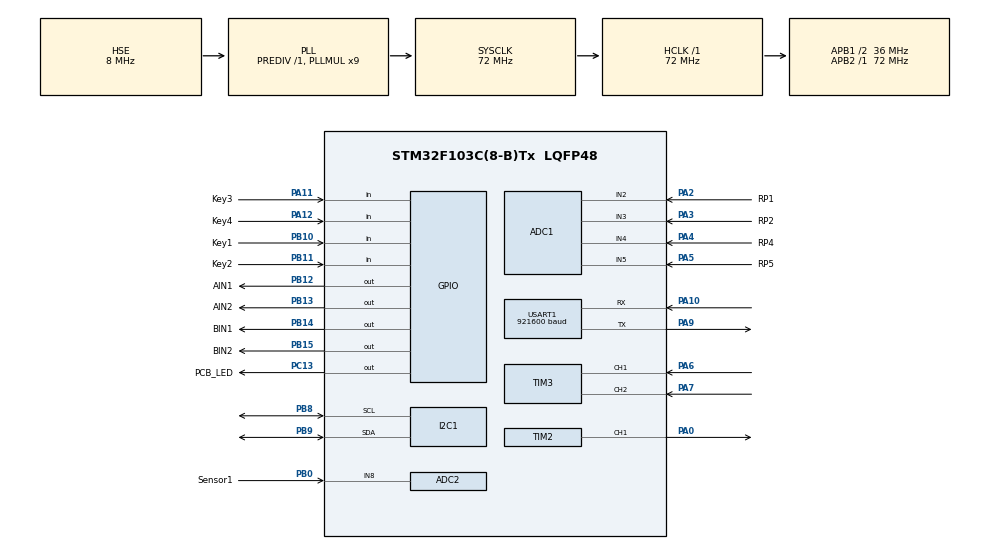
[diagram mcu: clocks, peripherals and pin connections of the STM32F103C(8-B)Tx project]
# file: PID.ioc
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ADC1.Channel-0\#ChannelRegularConversion=ADC_CHANNEL_2
ADC1.Channel-1\#ChannelRegularConversion=ADC_CHANNEL_3
ADC1.Channel-2\#ChannelRegularConversion=ADC_CHANNEL_4
ADC1.Channel-3\#ChannelRegularConversion=ADC_CHANNEL_5
ADC1.ContinuousConvMode=DISABLE
ADC1.DiscontinuousConvMode=DISABLE
ADC1.NbrOfConversion=4
ADC1.NbrOfConversionFlag=1
ADC1.Rank-0\#ChannelRegularConversion=1
ADC1.Rank-1\#ChannelRegularConversion=2
ADC1.Rank-2\#ChannelRegularConversion=3
ADC1.Rank-3\#ChannelRegularConversion=4
ADC1.SamplingTime-0\#ChannelRegularConversion=ADC_SAMPLETIME_1CYCLE_5
ADC1.SamplingTime-1\#ChannelRegularConversion=ADC_SAMPLETIME_1CYCLE_5
ADC1.SamplingTime-2\#ChannelRegularConversion=ADC_SAMPLETIME_1CYCLE_5
ADC1.SamplingTime-3\#ChannelRegularConversion=ADC_SAMPLETIME_1CYCLE_5
ADC1.master=1
ADC2.Channel-1\#ChannelRegularConversion=ADC_CHANNEL_8
ADC2.NbrOfConversionFlag=1
ADC2.Rank-1\#ChannelRegularConversion=1
ADC2.SamplingTime-1\#ChannelRegularConversion=ADC_SAMPLETIME_1CYCLE_5
Dma.ADC1.0.Direction=DMA_PERIPH_TO_MEMORY
Dma.ADC1.0.Instance=DMA1_Channel1
Dma.ADC1.0.MemDataAlignment=DMA_MDATAALIGN_HALFWORD
Dma.ADC1.0.MemInc=DMA_MINC_ENABLE
Dma.ADC1.0.Mode=DMA_NORMAL
Dma.ADC1.0.PeriphDataAlignment=DMA_PDATAALIGN_HALFWORD
Dma.ADC1.0.PeriphInc=DMA_PINC_DISABLE
Dma.ADC1.0.Priority=DMA_PRIORITY_LOW
Dma.Request0=ADC1
FREERTOS.BinarySemaphores01=OLEDupdateSem,Dynamic,NULL,Available;PIDupdateSem,Dynamic,NULL,Available;MotorUpdateSem,Dynamic,NULL,Available
FREERTOS.Tasks01=defaultTask,24,64,StartDefaultTask,Default,NULL,Dynamic,NULL,NULL;OLEDupdateTask,25,128,StartOLEDupdateTask,Default,NULL,Dynamic,NULL,NULL;ReadADCTask,24,64,StartReadADCTask,Default,NULL,Dynamic,NULL,NULL;SstMotorTask,28,64,StartSstMotorTask,Default,NULL,Dynamic,NULL,NULL;USART1Task,24,256,StartUSART1Task,Default,NULL,Dynamic,NULL,NULL;PIDupdateTask,28,64,StartPIDupdateTask,Default,NULL,Dynamic,NULL,NULL;GetEncoderTask,27,128,StartGetEncoderTask,Default,NULL,Dynamic,NULL,NULL;CopeKeyTask,24,64,StartCopeKeyTask,Default,NULL,Dynamic,NULL,NULL
FREERTOS.configMINIMAL_STACK_SIZE=64
FREERTOS.configTOTAL_HEAP_SIZE=5120
FREERTOS.configUSE_NEWLIB_REENTRANT=1
Mcu.Family=STM32F1
Mcu.Name=STM32F103C(8-B)Tx
Mcu.Package=LQFP48
NVIC.ADC1_2_IRQn=true\:5\:0\:false\:false\:true\:true\:true\:true\:true
NVIC.DMA1_Channel1_IRQn=true\:5\:0\:false\:false\:true\:true\:false\:true\:true
NVIC.PriorityGroup=NVIC_PRIORITYGROUP_4
NVIC.TIM4_IRQn=true\:15\:0\:false\:false\:true\:false\:false\:true\:true
NVIC.TimeBase=TIM4_IRQn
NVIC.TimeBaseIP=TIM4
PA0-WKUP.Signal=S_TIM2_CH1_ETR
PA10.Mode=Asynchronous
PA10.Signal=USART1_RX
PA11.GPIO_Label=Key3
PA11.GPIO_PuPd=GPIO_PULLUP
PA11.Signal=GPIO_Input
PA12.GPIO_Label=Key4
PA12.GPIO_PuPd=GPIO_PULLUP
PA12.Signal=GPIO_Input
PA13.Mode=Serial_Wire
PA13.Signal=SYS_JTMS-SWDIO
PA14.Mode=Serial_Wire
PA14.Signal=SYS_JTCK-SWCLK
PA2.GPIO_Label=RP1
PA2.Signal=SharedAnalog_PA2
PA3.GPIO_Label=RP2
PA3.Signal=SharedAnalog_PA3
PA4.GPIO_Label=RP4
PA4.Signal=SharedAnalog_PA4
PA5.GPIO_Label=RP5
PA5.Signal=SharedAnalog_PA5
PA6.Signal=S_TIM3_CH1
PA7.Signal=S_TIM3_CH2
PA9.Mode=Asynchronous
PA9.Signal=USART1_TX
PB0.GPIO_Label=Sensor1
PB0.Signal=SharedAnalog_PB0
PB10.GPIO_Label=Key1
PB10.GPIO_PuPd=GPIO_PULLUP
PB10.Signal=GPIO_Input
PB11.GPIO_Label=Key2
PB11.GPIO_PuPd=GPIO_PULLUP
PB11.Signal=GPIO_Input
PB12.GPIO_Label=AIN1
PB12.Signal=GPIO_Output
PB13.GPIO_Label=AIN2
PB13.Signal=GPIO_Output
PB14.GPIO_Label=BIN1
PB14.Signal=GPIO_Output
PB15.GPIO_Label=BIN2
PB15.Signal=GPIO_Output
PB8.Mode=I2C
PB8.Signal=I2C1_SCL
PB9.Mode=I2C
PB9.Signal=I2C1_SDA
PC13-TAMPER-RTC.GPIO_Label=PCB_LED
PC13-TAMPER-RTC.GPIO_ModeDefaultOutputPP=GPIO_MODE_OUTPUT_OD
PC13-TAMPER-RTC.GPIO_PuPd=GPIO_NOPULL
PC13-TAMPER-RTC.Signal=GPIO_Output
PD0-OSC_IN.Mode=HSE-External-Oscillator
PD0-OSC_IN.Signal=RCC_OSC_IN
PD1-OSC_OUT.Mode=HSE-External-Oscillator
PD1-OSC_OUT.Signal=RCC_OSC_OUT
ProjectManager.HeapSize=0x200
ProjectManager.StackSize=0x400
ProjectManager.TargetToolchain=STM32CubeIDE
RCC.ADCPresc=RCC_ADCPCLK2_DIV6
RCC.AHBFreq_Value=72000000
RCC.APB1CLKDivider=RCC_HCLK_DIV2
RCC.APB1Freq_Value=36000000
RCC.APB1TimFreq_Value=72000000
RCC.APB2Freq_Value=72000000
RCC.APB2TimFreq_Value=72000000
RCC.HCLKFreq_Value=72000000
RCC.PLLMUL=RCC_PLL_MUL9
RCC.PLLSourceVirtual=RCC_PLLSOURCE_HSE
RCC.SYSCLKFreq_VALUE=72000000
RCC.SYSCLKSource=RCC_SYSCLKSOURCE_PLLCLK
RCC.USBFreq_Value=72000000
SH.S_TIM2_CH1_ETR.0=TIM2_CH1,PWM Generation1 CH1
SH.S_TIM3_CH1.0=TIM3_CH1,Encoder_Interface
SH.S_TIM3_CH2.0=TIM3_CH2,Encoder_Interface
SH.SharedAnalog_PA2.0=GPIO_Analog
SH.SharedAnalog_PA2.1=ADC1_IN2,IN2
SH.SharedAnalog_PA3.0=GPIO_Analog
SH.SharedAnalog_PA3.1=ADC1_IN3,IN3
SH.SharedAnalog_PA4.0=GPIO_Analog
SH.SharedAnalog_PA4.1=ADC1_IN4,IN4
SH.SharedAnalog_PA5.0=GPIO_Analog
SH.SharedAnalog_PA5.1=ADC1_IN5,IN5
SH.SharedAnalog_PB0.0=GPIO_Analog
SH.SharedAnalog_PB0.1=ADC2_IN8,IN8
TIM2.AutoReloadPreload=TIM_AUTORELOAD_PRELOAD_ENABLE
TIM2.Channel-PWM\ Generation1\ CH1=TIM_CHANNEL_1
TIM2.Period=3599
TIM2.Prescaler=0
TIM2.Pulse-PWM\ Generation1\ CH1=3600
TIM3.EncoderMode=TIM_ENCODERMODE_TI12
TIM3.IC1Polarity=TIM_ICPOLARITY_FALLING
USART1.BaudRate=921600
USART1.VirtualMode=VM_ASYNC
VP_FREERTOS_VS_CMSIS_V2.Mode=CMSIS_V2
VP_SYS_VS_tim4.Mode=TIM4
VP_TIM1_VS_ClockSourceINT.Mode=Internal
VP_TIM2_VS_ClockSourceINT.Mode=Internal
board=custom

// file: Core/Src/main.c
/* USER CODE BEGIN Header */
/**
  ******************************************************************************
  * @file           : main.c
  * @brief          : Main program body
  ******************************************************************************
  * @attention
  *
  * Copyright (c) 2025 STMicroelectronics.
  * All rights reserved.
  *
  * This software is licensed under terms that can be found in the LICENSE file
  * in the root directory of this software component.
  * If no LICENSE file comes with this software, it is provided AS-IS.
  *
  ******************************************************************************
  */
/* USER CODE END Header */
#include "main.h"
#include "cmsis_os.h"
#include "adc.h"
#include "dma.h"
#include "i2c.h"
#include "tim.h"
#include "usart.h"
#include "gpio.h"

void SystemClock_Config(void);
void MX_FREERTOS_Init(void);

int main(void)
{

  /* MCU Configuration--------------------------------------------------------*/

  /* Reset of all peripherals, Initializes the Flash interface and the Systick. */
  HAL_Init();

  /* Configure the system clock */
  SystemClock_Config();

  /* Initialize all configured peripherals */
  MX_GPIO_Init();
  MX_DMA_Init();
  MX_ADC1_Init();
  MX_I2C1_Init();
  MX_ADC2_Init();
  MX_TIM1_Init();
  MX_USART1_UART_Init();
  MX_TIM2_Init();
  MX_TIM3_Init();
  /* USER CODE BEGIN 2 */
  OLED_init();
  HAL_ADCEx_Calibration_Start(&hadc1);
  HAL_ADCEx_Calibration_Start(&hadc2);
  HAL_TIM_Encoder_Start(&htim3, TIM_CHANNEL_ALL);
  HAL_TIM_PWM_Start(&htim2, TIM_CHANNEL_1);//motor PWMA

  motorSet(MOTOR_A, MOTOR_FORWARD, 3600);
  /* USER CODE END 2 */

  /* Init scheduler */
  osKernelInitialize();

  /* Call init function for freertos objects (in cmsis_os2.c) */
  MX_FREERTOS_Init();

  /* Start scheduler */
  osKernelStart();

  /* We should never get here as control is now taken by the scheduler */

  /* Infinite loop */
  while (1)
  {

  }
}

void SystemClock_Config(void)
{
  RCC_OscInitTypeDef RCC_OscInitStruct = {0};
  RCC_ClkInitTypeDef RCC_ClkInitStruct = {0};
  RCC_PeriphCLKInitTypeDef PeriphClkInit = {0};

  /** Initializes the RCC Oscillators according to the specified parameters
  * in the RCC_OscInitTypeDef structure.
  */
  RCC_OscInitStruct.OscillatorType = RCC_OSCILLATORTYPE_HSE;
  RCC_OscInitStruct.HSEState = RCC_HSE_ON;
  RCC_OscInitStruct.HSEPredivValue = RCC_HSE_PREDIV_DIV1;
  RCC_OscInitStruct.HSIState = RCC_HSI_ON;
  RCC_OscInitStruct.PLL.PLLState = RCC_PLL_ON;
  RCC_OscInitStruct.PLL.PLLSource = RCC_PLLSOURCE_HSE;
  RCC_OscInitStruct.PLL.PLLMUL = RCC_PLL_MUL9;
  if (HAL_RCC_OscConfig(&RCC_OscInitStruct) != HAL_OK)
  {
    Error_Handler();
  }

  /** Initializes the CPU, AHB and APB buses clocks
  */
  RCC_ClkInitStruct.ClockType = RCC_CLOCKTYPE_HCLK|RCC_CLOCKTYPE_SYSCLK
                              |RCC_CLOCKTYPE_PCLK1|RCC_CLOCKTYPE_PCLK2;
  RCC_ClkInitStruct.SYSCLKSource = RCC_SYSCLKSOURCE_PLLCLK;
  RCC_ClkInitStruct.AHBCLKDivider = RCC_SYSCLK_DIV1;
  RCC_ClkInitStruct.APB1CLKDivider = RCC_HCLK_DIV2;
  RCC_ClkInitStruct.APB2CLKDivider = RCC_HCLK_DIV1;

  if (HAL_RCC_ClockConfig(&RCC_ClkInitStruct, FLASH_LATENCY_2) != HAL_OK)
  {
    Error_Handler();
  }
  PeriphClkInit.PeriphClockSelection = RCC_PERIPHCLK_ADC;
  PeriphClkInit.AdcClockSelection = RCC_ADCPCLK2_DIV6;
  if (HAL_RCCEx_PeriphCLKConfig(&PeriphClkInit) != HAL_OK)
  {
    Error_Handler();
  }
}

/* USER CODE BEGIN 4 */
// 重定向fputc

/* USER CODE END 4 */

void HAL_TIM_PeriodElapsedCallback(TIM_HandleTypeDef *htim)
{
  if (htim->Instance == TIM4) {
    HAL_IncTick();
  }
}

void Error_Handler(void)
{
  __disable_irq();
  while (1)
  {
  }
}

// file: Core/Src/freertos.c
/* USER CODE BEGIN Header */
/**
  ******************************************************************************
  * File Name          : freertos.c
  * Description        : Code for freertos applications
  ******************************************************************************
  * @attention
  *
  * Copyright (c) 2025 STMicroelectronics.
  * All rights reserved.
  *
  * This software is licensed under terms that can be found in the LICENSE file
  * in the root directory of this software component.
  * If no LICENSE file comes with this software, it is provided AS-IS.
  *
  ******************************************************************************
  */
/* USER CODE END Header */

#include "FreeRTOS.h"
#include "task.h"
#include "main.h"
#include "cmsis_os.h"

/* USER CODE BEGIN Includes */
#include <string.h>
#include <math.h>
#include "adc.h"
#include "tim.h"
#include "usart.h"
/* USER CODE END Includes */

/* USER CODE BEGIN PD */
#define KEY_TRIG_STATE 0
#define KEY_RETRIG_STATE 1
/* USER CODE END PD */

/* USER CODE BEGIN Variables */
uint16_t RPValue[4]={0};

int countRealTime =0;
int countLastTime =0;
int SetSpeed = 0;
int RealSpeed = 0;

float UART1SendBuf[50]={0};
const uint8_t tail[4]={0x00, 0x00, 0x80, 0x7f};

float kp=2,ki=2,kd;
int ErrorRealTime,ErrorLast1Time,ErrorInt,PWMOutPut;

uint8_t KeyStateLastTime=0;
uint8_t KeyStateRealTime=0;
uint8_t keyTrigState=0;

/* USER CODE END Variables */
/* Definitions for defaultTask */
osThreadId_t defaultTaskHandle;
const osThreadAttr_t defaultTask_attributes = {
  .name = "defaultTask",
  .stack_size = 64 * 4,
  .priority = (osPriority_t) osPriorityNormal,
};
/* Definitions for OLEDupdateTask */
osThreadId_t OLEDupdateTaskHandle;
const osThreadAttr_t OLEDupdateTask_attributes = {
  .name = "OLEDupdateTask",
  .stack_size = 128 * 4,
  .priority = (osPriority_t) osPriorityNormal1,
};
/* Definitions for ReadADCTask */
osThreadId_t ReadADCTaskHandle;
const osThreadAttr_t ReadADCTask_attributes = {
  .name = "ReadADCTask",
  .stack_size = 64 * 4,
  .priority = (osPriority_t) osPriorityNormal,
};
/* Definitions for SstMotorTask */
osThreadId_t SstMotorTaskHandle;
const osThreadAttr_t SstMotorTask_attributes = {
  .name = "SstMotorTask",
  .stack_size = 64 * 4,
  .priority = (osPriority_t) osPriorityNormal4,
};
/* Definitions for USART1Task */
osThreadId_t USART1TaskHandle;
const osThreadAttr_t USART1Task_attributes = {
  .name = "USART1Task",
  .stack_size = 256 * 4,
  .priority = (osPriority_t) osPriorityNormal,
};
/* Definitions for PIDupdateTask */
osThreadId_t PIDupdateTaskHandle;
const osThreadAttr_t PIDupdateTask_attributes = {
  .name = "PIDupdateTask",
  .stack_size = 64 * 4,
  .priority = (osPriority_t) osPriorityNormal4,
};
/* Definitions for GetEncoderTask */
osThreadId_t GetEncoderTaskHandle;
const osThreadAttr_t GetEncoderTask_attributes = {
  .name = "GetEncoderTask",
  .stack_size = 128 * 4,
  .priority = (osPriority_t) osPriorityNormal3,
};
/* Definitions for CopeKeyTask */
osThreadId_t CopeKeyTaskHandle;
const osThreadAttr_t CopeKeyTask_attributes = {
  .name = "CopeKeyTask",
  .stack_size = 64 * 4,
  .priority = (osPriority_t) osPriorityNormal,
};
/* Definitions for OLEDupdateSem */
osSemaphoreId_t OLEDupdateSemHandle;
const osSemaphoreAttr_t OLEDupdateSem_attributes = {
  .name = "OLEDupdateSem"
};
/* Definitions for PIDupdateSem */
osSemaphoreId_t PIDupdateSemHandle;
const osSemaphoreAttr_t PIDupdateSem_attributes = {
  .name = "PIDupdateSem"
};
/* Definitions for MotorUpdateSem */
osSemaphoreId_t MotorUpdateSemHandle;
const osSemaphoreAttr_t MotorUpdateSem_attributes = {
  .name = "MotorUpdateSem"
};

void StartDefaultTask(void *argument);
void StartOLEDupdateTask(void *argument);
void StartReadADCTask(void *argument);
void StartSstMotorTask(void *argument);
void StartUSART1Task(void *argument);
void StartPIDupdateTask(void *argument);
void StartGetEncoderTask(void *argument);
void StartCopeKeyTask(void *argument);

void MX_FREERTOS_Init(void); /* (MISRA C 2004 rule 8.1) */

void MX_FREERTOS_Init(void) {

  /* Create the semaphores(s) */
  /* creation of OLEDupdateSem */
  OLEDupdateSemHandle = osSemaphoreNew(1, 1, &OLEDupdateSem_attributes);

  /* creation of PIDupdateSem */
  PIDupdateSemHandle = osSemaphoreNew(1, 1, &PIDupdateSem_attributes);

  /* creation of MotorUpdateSem */
  MotorUpdateSemHandle = osSemaphoreNew(1, 1, &MotorUpdateSem_attributes);

  /* Create the thread(s) */
  /* creation of defaultTask */
  defaultTaskHandle = osThreadNew(StartDefaultTask, NULL, &defaultTask_attributes);

  /* creation of OLEDupdateTask */
  OLEDupdateTaskHandle = osThreadNew(StartOLEDupdateTask, NULL, &OLEDupdateTask_attributes);

  /* creation of ReadADCTask */
  ReadADCTaskHandle = osThreadNew(StartReadADCTask, NULL, &ReadADCTask_attributes);

  /* creation of SstMotorTask */
  SstMotorTaskHandle = osThreadNew(StartSstMotorTask, NULL, &SstMotorTask_attributes);

  /* creation of USART1Task */
  USART1TaskHandle = osThreadNew(StartUSART1Task, NULL, &USART1Task_attributes);

  /* creation of PIDupdateTask */
  PIDupdateTaskHandle = osThreadNew(StartPIDupdateTask, NULL, &PIDupdateTask_attributes);

  /* creation of GetEncoderTask */
  GetEncoderTaskHandle = osThreadNew(StartGetEncoderTask, NULL, &GetEncoderTask_attributes);

  /* creation of CopeKeyTask */
  CopeKeyTaskHandle = osThreadNew(StartCopeKeyTask, NULL, &CopeKeyTask_attributes);

}

void StartDefaultTask(void *argument)
{
  for(;;)
  {
    osDelay(1);
  }
}

void StartOLEDupdateTask(void *argument)
{
  /* USER CODE BEGIN StartOLEDupdateTask */
  /* Infinite loop */
  for(;;)
  {
	  if(osSemaphoreAcquire(OLEDupdateSemHandle, 1000) == osOK)
	  {
		  OLED_updata();
	  }
  }
  /* USER CODE END StartOLEDupdateTask */
}

void StartReadADCTask(void *argument)
{
  /* USER CODE BEGIN StartReadADCTask */
  /* Infinite loop */
  for(;;)
  {
	  osDelay(100);
	  HAL_ADC_Start_DMA(&hadc1, (uint32_t *)RPValue, 4);

  }
  /* USER CODE END StartReadADCTask */
}

void StartSstMotorTask(void *argument)
{
  /* USER CODE BEGIN StartSstMotorTask */
  /* Infinite loop */
  for(;;)
  {
	  if (osSemaphoreAcquire(MotorUpdateSemHandle, 1000) == osOK)
	  {
		  if(PWMOutPut==0){motorSet(MOTOR_A, MOTOR_BREAK, 0);}
		  if(PWMOutPut>0){motorSet(MOTOR_A, MOTOR_FORWARD, PWMOutPut);}
		  if(PWMOutPut<0){motorSet(MOTOR_A, MOTOR_BREAK, -PWMOutPut);}
	  }
  }
  /* USER CODE END StartSstMotorTask */
}

void StartUSART1Task(void *argument)
{
  /* USER CODE BEGIN StartUSART1Task */
  /* Infinite loop */
  for(;;)
  {
//	  uint8_t UART_SetSpeedBuf[sizeof(int)],UART_RealSpeedBuf[sizeof(int)],UART_PWMOutPutBuf[sizeof(int)];
	  UART1SendBuf[0]=(float)SetSpeed;
	  UART1SendBuf[1]=(float)RealSpeed;
	  UART1SendBuf[2]=(float)(PWMOutPut/36);
	  UART1SendBuf[3]=(float)ErrorRealTime;
	  HAL_UART_Transmit(&huart1, (uint8_t*)UART1SendBuf, sizeof(float)*4, HAL_MAX_DELAY);
	  HAL_UART_Transmit(&huart1, tail, 4, HAL_MAX_DELAY);
	  osDelay(10);
  }
  /* USER CODE END StartUSART1Task */
}

void StartPIDupdateTask(void *argument)
{
  /* USER CODE BEGIN StartPIDupdateTask */
  /* Infinite loop */
  for(;;)
  {
	if (osSemaphoreAcquire(PIDupdateSemHandle, 1000) == osOK)
	{
		ErrorLast1Time=ErrorRealTime;
		ErrorRealTime=SetSpeed-RealSpeed;
		if (fabs(ki) > 0.001){ErrorInt+=ErrorRealTime;}
		PWMOutPut=kp*ErrorRealTime+ki*ErrorInt+kd*(ErrorRealTime-ErrorLast1Time);
		if(PWMOutPut>3600){PWMOutPut=3600;}
		if(PWMOutPut<-3600){PWMOutPut=-3600;}
		osSemaphoreRelease (MotorUpdateSemHandle);
	}
  }
  /* USER CODE END StartPIDupdateTask */
}

void StartGetEncoderTask(void *argument)
{
  /* USER CODE BEGIN StartGetEncoderTask */
  /* Infinite loop */
  for(;;)
  {
	  countRealTime =__HAL_TIM_GET_COUNTER(&htim3);
	  osDelay(10);
	  if((countRealTime - countLastTime)<100 && (countRealTime - countLastTime)>-100){RealSpeed = countRealTime - countLastTime;}
	  osSemaphoreRelease (PIDupdateSemHandle);
	  OLED_showSignedNUM(0, 0, RealSpeed, 8);
	  countLastTime = countRealTime;
	  osSemaphoreRelease (OLEDupdateSemHandle);

  }
  /* USER CODE END StartGetEncoderTask */
}

void StartCopeKeyTask(void *argument)
{
  /* USER CODE BEGIN StartCopeKeyTask */
  /* Infinite loop */
  for(;;)
  {
	  KeyStateRealTime=0;
	  if(HAL_GPIO_ReadPin(Key1_GPIO_Port, Key1_Pin)==KEY_TRIG_STATE){KeyStateRealTime|=0X01;}
	  if(HAL_GPIO_ReadPin(Key2_GPIO_Port, Key2_Pin)==KEY_TRIG_STATE){KeyStateRealTime|=0X02;}
	  if(HAL_GPIO_ReadPin(Key3_GPIO_Port, Key3_Pin)==KEY_TRIG_STATE){KeyStateRealTime|=0X04;}
	  if(HAL_GPIO_ReadPin(Key4_GPIO_Port, Key4_Pin)==KEY_TRIG_STATE){KeyStateRealTime|=0X08;}

	  if(KeyStateRealTime!=KeyStateLastTime)
	  {
		  for (int i = 0; i < 4; ++i)
		  {
			  if((KeyStateRealTime&(0x01<<i))==0 && (KeyStateLastTime&(0x01<<i))==(0x01<<i))
			  {
				  keyTrigState|=(0x01<<i);
			  }
		  }
	  }
	  if((keyTrigState&0x01)==0x01){SetSpeed-=5;}
	  if((keyTrigState&0x02)==0x02){SetSpeed+=5;}
	  if((keyTrigState&0x04)==0x04){SetSpeed=0;}
	  if((keyTrigState&0x08)==0x08){}
	  keyTrigState=0;
	  osDelay(20);
	  KeyStateLastTime=KeyStateRealTime;
//	  OLED_showHEX(2, 0, KeyStateRealTime, 8);
//	  OLED_showHEX(4, 0, KeyStateLastTime, 8);
//	  OLED_showHEX(6, 0, keyTrigState, 8);
//	  osSemaphoreRelease (OLEDupdateSemHandle);

  }
  /* USER CODE END StartCopeKeyTask */
}
